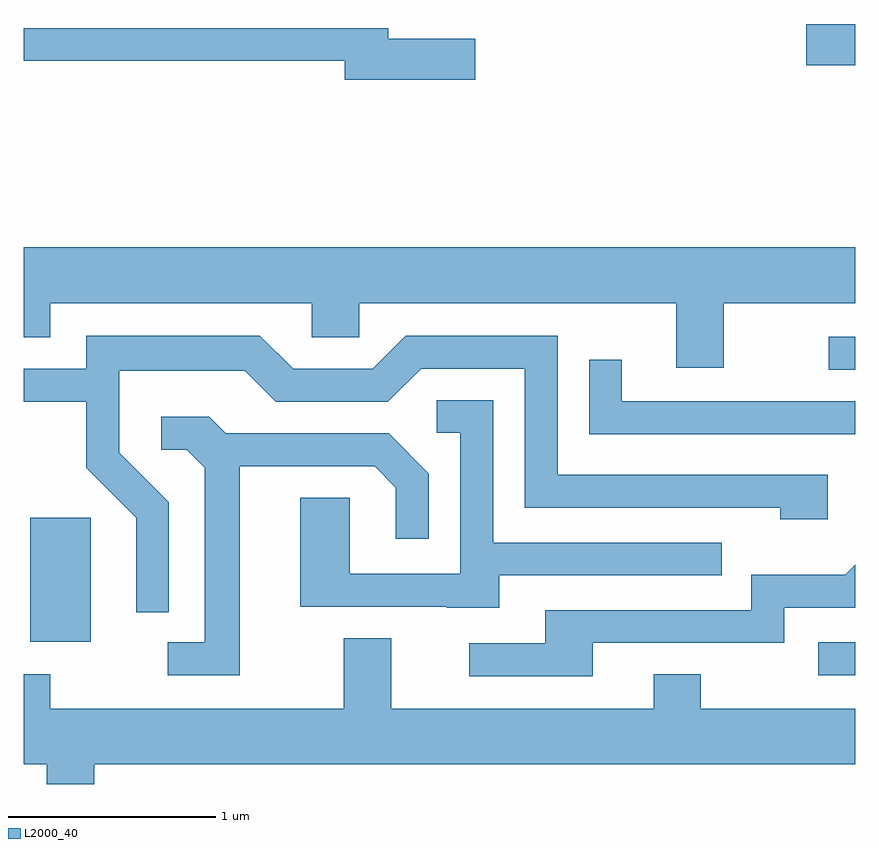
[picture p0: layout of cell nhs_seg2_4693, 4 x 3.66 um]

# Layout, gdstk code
import gdstk
lib = gdstk.Library(unit=1e-6, precision=1e-09)
def R(c, l, rs):  # rectangles x0, y0, x1, y1
    for r in rs: c.add(gdstk.rectangle(r[:2], r[2:], *l))
def P(c, l, *ps):  # polygons
    for p in ps: c.add(gdstk.Polygon(p, *l))
L2000_40 = (2000, 40)

nhs_seg2_4693 = lib.new_cell('nhs_seg2_4693')
R(nhs_seg2_4693, L2000_40, [(327.433,1024.326,327.611,1024.484), (323.641,1024.486,323.934,1025.084), (327.483,1025.796,327.611,1025.954), (327.376,1027.261,327.611,1027.459)])
P(nhs_seg2_4693, L2000_40, [(325.784,1027.389),(325.364,1027.389),(325.364,1027.439),(323.611,1027.439),(323.611,1027.281),(325.156,1027.281),(325.156,1027.191),(325.784,1027.191)],
  [(326.979,1026.116),(327.611,1026.116),(327.611,1026.384),(323.611,1026.384),(323.611,1025.951),(323.739,1025.951),(323.739,1026.116),(324.996,1026.116),(324.996,1025.951),(325.224,1025.951),(325.224,1026.116),(326.751,1026.116),(326.751,1025.806),(326.979,1025.806)],
  [(324.309,1025.157),(324.069,1025.397),(324.069,1025.791),(324.674,1025.791),(324.824,1025.641),(325.362,1025.641),(325.522,1025.801),(326.021,1025.801),(326.021,1025.131),(327.251,1025.131),(327.251,1025.076),(327.479,1025.076),(327.479,1025.289),(326.179,1025.289),(326.179,1025.959),(325.449,1025.959),(325.289,1025.799),(324.907,1025.799),(324.747,1025.959),(323.911,1025.959),(323.911,1025.799),(323.611,1025.799),(323.611,1025.641),(323.911,1025.641),(323.911,1025.324),(324.151,1025.084),(324.151,1024.628),(324.309,1024.628)],
  [(327.611,1025.644),(326.489,1025.644),(326.489,1025.843),(326.331,1025.843),(326.331,1025.486),(327.611,1025.486)],
  [(325.899,1024.806),(326.968,1024.806),(326.968,1024.964),(325.869,1024.964),(325.869,1025.649),(325.598,1025.649),(325.598,1025.491),(325.711,1025.491),(325.711,1024.814),(325.179,1024.814),(325.179,1025.179),(324.941,1025.179),(324.941,1024.656),(325.645,1024.656),(325.645,1024.651),(325.899,1024.651)],
  [(324.649,1025.331),(325.299,1025.331),(325.401,1025.228),(325.401,1024.983),(325.559,1024.983),(325.559,1025.296),(325.367,1025.489),(324.582,1025.489),(324.502,1025.569),(324.273,1025.569),(324.273,1025.411),(324.394,1025.411),(324.481,1025.324),(324.481,1024.484),(324.303,1024.484),(324.303,1024.326),(324.649,1024.326)],
  [(326.349,1024.481),(327.269,1024.481),(327.269,1024.651),(327.611,1024.651),(327.611,1024.856),(327.564,1024.809),(327.111,1024.809),(327.111,1024.639),(326.121,1024.639),(326.121,1024.479),(325.753,1024.479),(325.753,1024.321),(326.349,1024.321)],
  [(323.949,1023.896),(327.611,1023.896),(327.611,1024.164),(326.869,1024.164),(326.869,1024.329),(326.641,1024.329),(326.641,1024.164),(325.379,1024.164),(325.379,1024.504),(325.151,1024.504),(325.151,1024.164),(323.739,1024.164),(323.739,1024.329),(323.611,1024.329),(323.611,1023.896),(323.721,1023.896),(323.721,1023.802),(323.949,1023.802)])

lib.write_gds('nhs_seg2_4693.gds')
